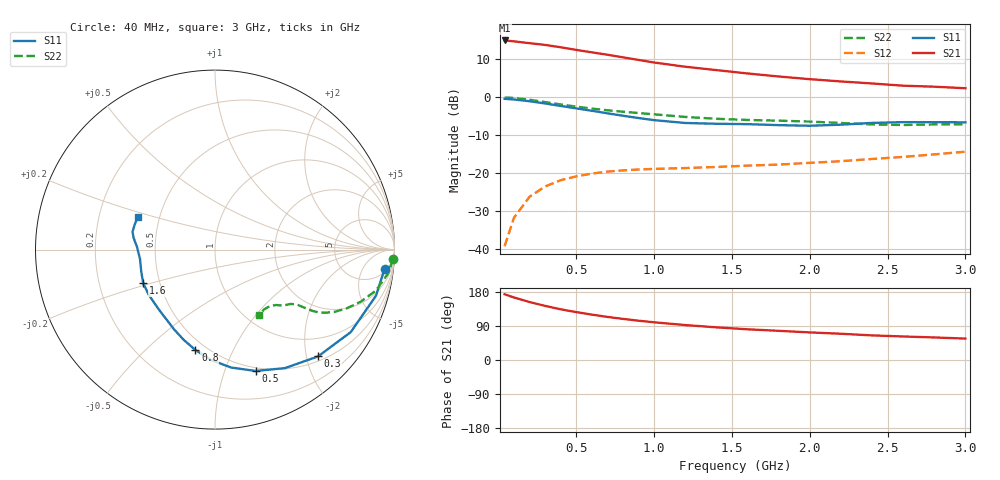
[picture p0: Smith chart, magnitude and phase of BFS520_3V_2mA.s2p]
! Filename:  BFS520A.S2P  Version:  4.0
! Philips part #: BFS520  Date: Jun 1994
! Bias condition: Vce=3V, Ic=2mA
#  MHz  S  MA  R  50
! Freq  S11  S21  S12  S22  !GUM [dB]
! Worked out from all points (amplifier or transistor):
!   21 points, 40 MHz to 3 GHz, reference 50 ohm
!   highest |S21| = 14.9 dB at 40 MHz (marker M1)
!   |S21| within 3 dB of that: start of sweep to 580.8 MHz
!   unconditionally stable (mu >= 1): 1.322 GHz to end of sweep
!   at 300 MHz: K = 0.28, MSG = 18.6 dB, |S12| = -23.5 dB
!   at 1 GHz: K = 0.78, MSG = 14.0 dB, |S12| = -18.9 dB
!   at 3 GHz: K = 1.19, MAG = 5.7 dB, |S12| = -14.3 dB
!   S11 on the Smith chart (normalised r, x): 40 MHz: 7, -15; 300 MHz: 0.59, -2.22; 500 MHz: 0.47, -1.28; 800 MHz: 0.44, -0.73; 1.6 GHz: 0.40, -0.19; 3 GHz: 0.38, +0.18
40  0.951 -6.5  5.567 173.5  0.011 85.2  0.992 -3.1
100  0.933 -16.0  5.416 165.0  0.026 79.0  0.976 -7.6
200  0.885 -31.3  5.128 153.0  0.049 69.6  0.925 -14.3
300  0.827 -46.0  4.862 142.8  0.067 62.0  0.862 -19.7
400  0.767 -59.4  4.532 133.8  0.081 56.2  0.803 -24.1
500  0.713 -71.5  4.186 126.4  0.091 51.9  0.751 -27.5
600  0.663 -82.3  3.885 119.8  0.099 48.9  0.708 -29.8
700  0.614 -92.3  3.615 113.7  0.105 47.1  0.673 -31.3
800  0.57 -101.0  3.342 108.5  0.109 45.9  0.644 -32.1
900  0.532 -109.2  3.088 103.7  0.112 44.9  0.619 -32.6
1000  0.499 -117.3  2.857 99.5  0.114 44.7  0.595 -33.0
1200  0.458 -132.8  2.514 92.2  0.117 45.2  0.55 -33.8
1400  0.447 -145.5  2.27 86.2  0.121 47.0  0.52 -35.6
1600  0.442 -154.8  2.05 81.0  0.126 49.3  0.502 -37.9
1800  0.429 -163.2  1.871 77.0  0.13 52.8  0.491 -39.4
2000  0.421 -172.9  1.725 72.8  0.137 56.2  0.478 -40.5
2200  0.435 178.0  1.61 69.3  0.144 59.9  0.458 -42.4
2400  0.459 171.6  1.514 64.9  0.154 62.9  0.438 -46.1
2600  0.47 167.8  1.416 62.1  0.164 65.4  0.431 -50.9
2800  0.469 163.3  1.373 59.5  0.177 68.6  0.438 -54.3
3000  0.467 156.9  1.311 56.5  0.192 70.8  0.44 -56.2
